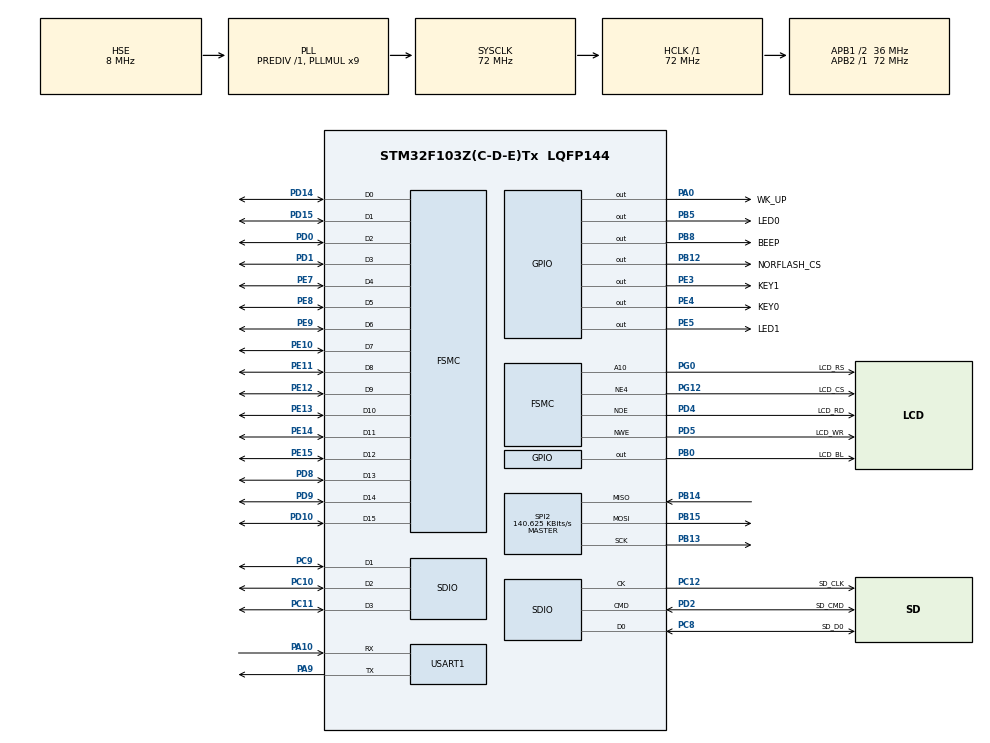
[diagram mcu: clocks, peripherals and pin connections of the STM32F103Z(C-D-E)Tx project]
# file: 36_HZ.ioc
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FATFS._CODE_PAGE=936
FATFS._FS_LOCK=0
FATFS._LFN_UNICODE=0
FATFS._MAX_SS=512
FATFS._STRF_ENCODE=0
FATFS._USE_LABEL=1
FATFS._USE_LFN=3
FATFS._VOLUMES=2
FSMC.AddressSetupTime1=0
FSMC.BusTurnAroundDuration1=15
FSMC.DataSetupTime1=15
FSMC.ExtendedAddressSetupTime1=0
FSMC.ExtendedDataSetupTime1=1
FSMC.ExtendedMode1=FSMC_EXTENDED_MODE_ENABLE
Mcu.Family=STM32F1
Mcu.Name=STM32F103Z(C-D-E)Tx
Mcu.Package=LQFP144
NVIC.PriorityGroup=NVIC_PRIORITYGROUP_2
NVIC.TIM4_IRQn=true\:2\:2\:true\:false\:true\:true\:true\:true
NVIC.USART1_IRQn=true\:2\:2\:true\:false\:true\:true\:true\:true
OSC_IN.Mode=HSE-External-Oscillator
OSC_IN.Signal=RCC_OSC_IN
OSC_OUT.Mode=HSE-External-Oscillator
OSC_OUT.Signal=RCC_OSC_OUT
PA0-WKUP.GPIO_Label=WK_UP
PA0-WKUP.GPIO_PuPd=GPIO_PULLDOWN
PA0-WKUP.GPIO_Speed=GPIO_SPEED_FREQ_HIGH
PA0-WKUP.PinState=GPIO_PIN_RESET
PA0-WKUP.Signal=GPIO_Output
PA10.Mode=Asynchronous
PA10.Signal=USART1_RX
PA13.Mode=Serial_Wire
PA13.Signal=SYS_JTMS-SWDIO
PA14.Mode=Serial_Wire
PA14.Signal=SYS_JTCK-SWCLK
PA9.Mode=Asynchronous
PA9.Signal=USART1_TX
PB0.GPIO_Label=LCD_BL
PB0.GPIO_PuPd=GPIO_PULLUP
PB0.GPIO_Speed=GPIO_SPEED_FREQ_HIGH
PB0.PinState=GPIO_PIN_SET
PB0.Signal=GPIO_Output
PB12.GPIO_Label=NORFLASH_CS
PB12.GPIO_PuPd=GPIO_PULLUP
PB12.GPIO_Speed=GPIO_SPEED_FREQ_HIGH
PB12.PinState=GPIO_PIN_SET
PB12.Signal=GPIO_Output
PB13.Mode=Full_Duplex_Master
PB13.Signal=SPI2_SCK
PB14.Mode=Full_Duplex_Master
PB14.Signal=SPI2_MISO
PB15.Mode=Full_Duplex_Master
PB15.Signal=SPI2_MOSI
PB5.GPIO_Label=LED0
PB5.GPIO_PuPd=GPIO_PULLUP
PB5.GPIO_Speed=GPIO_SPEED_FREQ_HIGH
PB5.PinState=GPIO_PIN_SET
PB5.Signal=GPIO_Output
PB8.GPIO_Label=BEEP
PB8.GPIO_ModeDefaultOutputPP=GPIO_MODE_OUTPUT_PP
PB8.GPIO_PuPd=GPIO_PULLDOWN
PB8.GPIO_Speed=GPIO_SPEED_FREQ_HIGH
PB8.PinState=GPIO_PIN_RESET
PB8.Signal=GPIO_Output
PC10.Mode=SD_4_bits_Wide_bus
PC10.Signal=SDIO_D2
PC11.Mode=SD_4_bits_Wide_bus
PC11.Signal=SDIO_D3
PC12.GPIO_Label=SD_CLK
PC12.Mode=SD_4_bits_Wide_bus
PC12.Signal=SDIO_CK
PC14-OSC32_IN.Mode=LSE-External-Oscillator
PC14-OSC32_IN.Signal=RCC_OSC32_IN
PC15-OSC32_OUT.Mode=LSE-External-Oscillator
PC15-OSC32_OUT.Signal=RCC_OSC32_OUT
PC8.GPIO_Label=SD_D0
PC8.Mode=SD_4_bits_Wide_bus
PC8.Signal=SDIO_D0
PC9.Mode=SD_4_bits_Wide_bus
PC9.Signal=SDIO_D1
PD0.Signal=FSMC_D2_DA2
PD1.Signal=FSMC_D3_DA3
PD10.Signal=FSMC_D15_DA15
PD14.Signal=FSMC_D0_DA0
PD15.Signal=FSMC_D1_DA1
PD2.GPIO_Label=SD_CMD
PD2.Mode=SD_4_bits_Wide_bus
PD2.Signal=SDIO_CMD
PD4.GPIO_Label=LCD_RD
PD4.Signal=FSMC_NOE
PD5.GPIO_Label=LCD_WR
PD5.Signal=FSMC_NWE
PD8.Signal=FSMC_D13_DA13
PD9.Signal=FSMC_D14_DA14
PE10.Signal=FSMC_D7_DA7
PE11.Signal=FSMC_D8_DA8
PE12.Signal=FSMC_D9_DA9
PE13.Signal=FSMC_D10_DA10
PE14.Signal=FSMC_D11_DA11
PE15.Signal=FSMC_D12_DA12
PE3.GPIO_Label=KEY1
PE3.GPIO_PuPd=GPIO_PULLUP
PE3.GPIO_Speed=GPIO_SPEED_FREQ_HIGH
PE3.PinState=GPIO_PIN_SET
PE3.Signal=GPIO_Output
PE4.GPIO_Label=KEY0
PE4.GPIO_PuPd=GPIO_PULLUP
PE4.GPIO_Speed=GPIO_SPEED_FREQ_HIGH
PE4.PinState=GPIO_PIN_SET
PE4.Signal=GPIO_Output
PE5.GPIO_Label=LED1
PE5.GPIO_PuPd=GPIO_PULLUP
PE5.GPIO_Speed=GPIO_SPEED_FREQ_HIGH
PE5.PinState=GPIO_PIN_SET
PE5.Signal=GPIO_Output
PE7.Signal=FSMC_D4_DA4
PE8.Signal=FSMC_D5_DA5
PE9.Signal=FSMC_D6_DA6
PG0.GPIO_Label=LCD_RS
PG0.Signal=FSMC_A10
PG12.GPIO_Label=LCD_CS
PG12.Mode=NorPsramChipSelect4_1
PG12.Signal=FSMC_NE4
ProjectManager.HeapSize=0x1000
ProjectManager.StackSize=0x400
ProjectManager.TargetToolchain=STM32CubeIDE
RCC.AHBFreq_Value=72000000
RCC.APB1CLKDivider=RCC_HCLK_DIV2
RCC.APB1Freq_Value=36000000
RCC.APB1TimFreq_Value=72000000
RCC.APB2Freq_Value=72000000
RCC.APB2TimFreq_Value=72000000
RCC.HCLKFreq_Value=72000000
RCC.PLLMUL=RCC_PLL_MUL9
RCC.PLLSourceVirtual=RCC_PLLSOURCE_HSE
RCC.SYSCLKFreq_VALUE=72000000
RCC.SYSCLKSource=RCC_SYSCLKSOURCE_PLLCLK
RCC.USBFreq_Value=72000000
SDIO.ClockDiv=0x06
SDIO.HardwareFlowControl=SDIO_HARDWARE_FLOW_CONTROL_ENABLE
SH.FSMC_A10.0=FSMC_A10,A10_1
SH.FSMC_D0_DA0.0=FSMC_D0,16b-d1
SH.FSMC_D10_DA10.0=FSMC_D10,16b-d1
SH.FSMC_D11_DA11.0=FSMC_D11,16b-d1
SH.FSMC_D12_DA12.0=FSMC_D12,16b-d1
SH.FSMC_D13_DA13.0=FSMC_D13,16b-d1
SH.FSMC_D14_DA14.0=FSMC_D14,16b-d1
SH.FSMC_D15_DA15.0=FSMC_D15,16b-d1
SH.FSMC_D1_DA1.0=FSMC_D1,16b-d1
SH.FSMC_D2_DA2.0=FSMC_D2,16b-d1
SH.FSMC_D3_DA3.0=FSMC_D3,16b-d1
SH.FSMC_D4_DA4.0=FSMC_D4,16b-d1
SH.FSMC_D5_DA5.0=FSMC_D5,16b-d1
SH.FSMC_D6_DA6.0=FSMC_D6,16b-d1
SH.FSMC_D7_DA7.0=FSMC_D7,16b-d1
SH.FSMC_D8_DA8.0=FSMC_D8,16b-d1
SH.FSMC_D9_DA9.0=FSMC_D9,16b-d1
SH.FSMC_NOE.0=FSMC_NOE,Lcd1
SH.FSMC_NWE.0=FSMC_NWE,Lcd1
SPI2.BaudRatePrescaler=SPI_BAUDRATEPRESCALER_256
SPI2.CLKPhase=SPI_PHASE_2EDGE
SPI2.CLKPolarity=SPI_POLARITY_HIGH
SPI2.CalculateBaudRate=140.625 KBits/s
SPI2.Direction=SPI_DIRECTION_2LINES
SPI2.Mode=SPI_MODE_MASTER
SPI2.VirtualType=VM_MASTER
TIM4.AutoReloadPreload=TIM_AUTORELOAD_PRELOAD_ENABLE
TIM4.Period=1000 - 1
TIM4.Prescaler=720 - 1
USART1.VirtualMode=VM_ASYNC
VP_FATFS_VS_Generic.Mode=User_defined
VP_TIM4_VS_ClockSourceINT.Mode=Internal
board=custom

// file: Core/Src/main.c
/* USER CODE BEGIN Header */
/**
 ****************************************************************************************************
 * @file        main.c
 * @author      正点原子团队(ALIENTEK)
 * @version     V1.0
 * @date        2024-01-01
 * @brief       汉字显示 实验
 * @license     Copyright (c) 2020-2032, 广州市星翼电子科技有限公司
 ****************************************************************************************************
 * @attention
 *
 * 实验平台:正点原子 STM32F103开发板
 * 在线视频:www.yuanzige.com
 * 技术论坛:www.openedv.com
 * 公司网址:www.alientek.com
 * 购买地址:openedv.taobao.com
 *
 ****************************************************************************************************
 */
/* USER CODE END Header */
#include "main.h"
#include "fatfs.h"
#include "sdio.h"
#include "spi.h"
#include "tim.h"
#include "usart.h"
#include "gpio.h"
#include "fsmc.h"

/* USER CODE BEGIN Includes */
#include "../../BSP/LED/led.h"
#include "../../BSP/KEY/key.h"
#include "../../BSP/LCD/lcd.h"
#include "../../BSP/NORFLASH/norflash.h"
#include "../../SYSTEM/delay/delay.h"
#include "../../ATK_Middlewares/MALLOC/malloc.h"
#include "../../FatFs/exfuns/exfuns.h"
#include "../../ATK_Middlewares/TEXT/text.h"
#include "ff.h"
/* USER CODE END Includes */

/* USER CODE BEGIN PTD */
extern uint8_t g_sd_sta;
/* USER CODE END PTD */

/* USER CODE BEGIN PD */
uint8_t read_buf[50] = {0};
uint8_t write_buf[50] = "Hello test demo";

/* USER CODE END PD */

void SystemClock_Config(void);

int main(void)
{
  /* USER CODE BEGIN 1 */
    uint32_t fontcnt;
    uint8_t i, j;
    uint8_t fontx[2]; /* GBK码 */
    uint8_t key, t;
  /* USER CODE END 1 */

  /* MCU Configuration--------------------------------------------------------*/

  /* Reset of all peripherals, Initializes the Flash interface and the Systick. */
  HAL_Init();

  /* Configure the system clock */
  SystemClock_Config();

  /* USER CODE BEGIN SysInit */
  delay_init(72);						   	/* 初始化延时函数 */
  /* USER CODE END SysInit */

  /* Initialize all configured peripherals */
  MX_GPIO_Init();
  MX_FSMC_Init();
  MX_USART1_UART_Init();
  MX_SDIO_SD_Init();
  MX_FATFS_Init();
  MX_SPI2_Init();
  MX_TIM4_Init();
  /* USER CODE BEGIN 2 */
  lcd_init();                         		/* 初始化LCD */
  norflash_init();                    		/* 初始化NORFLASH */
  my_mem_init(SRAMIN);               		/* 初始化内部SRAM内存池 */
  exfuns_init();                 			/* 为fatfs相关变量申请内存 */

  f_mount(fs[0], "0:", 1);       			/* 挂载SD卡 */
  f_mount(fs[1], "1:", 1);       			/* 挂载SPI_FLASH卡 */

  while (fonts_init())                		/* 检查字库 */
  {
  UPD:
	  lcd_clear(WHITE);               		/* 清屏 */
	  lcd_show_string(30, 30, 200, 16, 16, "STM32", RED);

	  while (g_sd_sta == 1)               	/* 检测SD卡 */
	  {
		  g_sd_sta = 0;
		  MX_SDIO_SD_Init();
		  lcd_show_string(30, 50, 200, 16, 16, "SD Card Failed!", RED);
		  delay_ms(200);
		  lcd_fill(30, 50, 200 + 30, 50 + 16, WHITE);
		  delay_ms(200);
	  }

	  lcd_show_string(30, 50, 200, 16, 16, "SD Card OK", RED);
	  lcd_show_string(30, 70, 200, 16, 16, "Font Updating...", RED);
	  key = fonts_update_font(20, 90, 16, (uint8_t *)"0:", RED); /* 更新字库 */

	  while (key) /* 更新失败 */
	  {
		  lcd_show_string(30, 90, 200, 16, 16, "Font Update Failed!", RED);
		  delay_ms(200);
		  lcd_fill(20, 90, 200 + 20, 90 + 16, WHITE);
		  delay_ms(200);
	  }

	  lcd_show_string(30, 90, 200, 16, 16, "Font Update Success!   ", RED);
	  delay_ms(1500);
	  lcd_clear(WHITE); /* 清屏 */
  }

  text_show_string(30, 30, 200, 16, "正点原子STM32开发板", 16, 0, RED);
  text_show_string(30, 50, 200, 16, "GBK字库测试程序", 16, 0, RED);
  text_show_string(30, 70, 200, 16, "正点原子@ALIENTEK", 16, 0, RED);
  text_show_string(30, 90, 200, 16, "按KEY0,更新字库", 16, 0, RED);

  text_show_string(30, 110, 200, 16, "内码高字节:", 16, 0, BLUE);
  text_show_string(30, 130, 200, 16, "内码低字节:", 16, 0, BLUE);
  text_show_string(30, 150, 200, 16, "汉字计数器:", 16, 0, BLUE);

  text_show_string(30, 180, 200, 24, "对应汉字为:", 24, 0, BLUE);
  text_show_string(30, 204, 200, 16, "对应汉字(16*16)为:", 16, 0, BLUE);
  text_show_string(30, 220, 200, 16, "对应汉字(12*12)为:", 12, 0, BLUE);

  /* USER CODE END 2 */

  /* Infinite loop */
  /* USER CODE BEGIN WHILE */
  while (1)
  {
	  fontcnt = 0;

	  for (i = 0x81; i < 0xff; i++)               /* GBK内码高字节范围为0X81~0XFE */
	  {
		  fontx[0] = i;
		  lcd_show_num(118, 130, i, 3, 16, BLUE); /* 显示内码高字节 */

		  for (j = 0x40; j < 0xfe; j++)           /* GBK内码低字节范围为 0X40~0X7E, 0X80~0XFE) */
		  {
			  if (j == 0x7f)
				  continue;

			  fontcnt++;
			  lcd_show_num(118, 130, j, 3, 16, BLUE);       /* 显示内码低字节 */
			  lcd_show_num(118, 150, fontcnt, 5, 16, BLUE); /* 汉字计数显示 */
			  fontx[1] = j;
			  text_show_font(30 + 132, 180, fontx, 24, 0, BLUE);
			  text_show_font(30 + 144, 204, fontx, 16, 0, BLUE);
			  text_show_font(30 + 108, 220, fontx, 12, 0, BLUE);
			  t = 200;

			  while (t--)         /* 延时,同时扫描按键 */
			  {
				  delay_ms(1);
				  key = key_scan(0);

				  if (key == KEY0_PRES)
				  {
					  goto UPD;   /* 跳转到UPD位置(强制更新字库) */
				  }
			  }

			  LED0_TOGGLE();
		  }
	  }
    /* USER CODE END WHILE */

  }
}

void SystemClock_Config(void)
{
  RCC_OscInitTypeDef RCC_OscInitStruct = {0};
  RCC_ClkInitTypeDef RCC_ClkInitStruct = {0};

  /** Initializes the RCC Oscillators according to the specified parameters
  * in the RCC_OscInitTypeDef structure.
  */
  RCC_OscInitStruct.OscillatorType = RCC_OSCILLATORTYPE_HSE;
  RCC_OscInitStruct.HSEState = RCC_HSE_ON;
  RCC_OscInitStruct.HSEPredivValue = RCC_HSE_PREDIV_DIV1;
  RCC_OscInitStruct.HSIState = RCC_HSI_ON;
  RCC_OscInitStruct.PLL.PLLState = RCC_PLL_ON;
  RCC_OscInitStruct.PLL.PLLSource = RCC_PLLSOURCE_HSE;
  RCC_OscInitStruct.PLL.PLLMUL = RCC_PLL_MUL9;
  if (HAL_RCC_OscConfig(&RCC_OscInitStruct) != HAL_OK)
  {
    Error_Handler();
  }

  /** Initializes the CPU, AHB and APB buses clocks
  */
  RCC_ClkInitStruct.ClockType = RCC_CLOCKTYPE_HCLK|RCC_CLOCKTYPE_SYSCLK
                              |RCC_CLOCKTYPE_PCLK1|RCC_CLOCKTYPE_PCLK2;
  RCC_ClkInitStruct.SYSCLKSource = RCC_SYSCLKSOURCE_PLLCLK;
  RCC_ClkInitStruct.AHBCLKDivider = RCC_SYSCLK_DIV1;
  RCC_ClkInitStruct.APB1CLKDivider = RCC_HCLK_DIV2;
  RCC_ClkInitStruct.APB2CLKDivider = RCC_HCLK_DIV1;

  if (HAL_RCC_ClockConfig(&RCC_ClkInitStruct, FLASH_LATENCY_2) != HAL_OK)
  {
    Error_Handler();
  }
}

void Error_Handler(void)
{
  __disable_irq();
  while (1)
  {
  }
}
